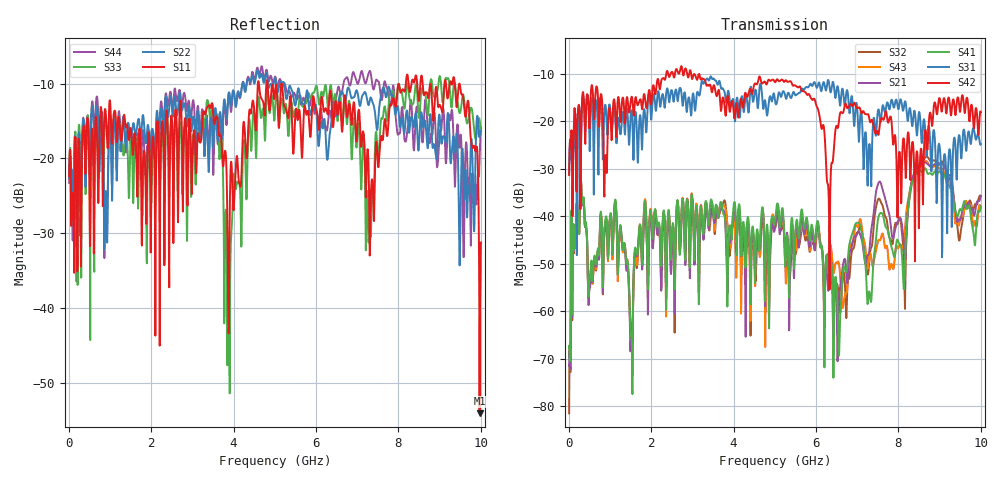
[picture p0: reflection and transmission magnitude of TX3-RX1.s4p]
# Hz S  RI  R 50
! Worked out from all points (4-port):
!   1601 points, 10 MHz to 10 GHz, reference 50 ohm
!   strongest paths, dB at 10 MHz, 2.507 GHz, 5.005 GHz, 7.503 GHz, 10 GHz:
!     S42: -31.3, -9.5, -11.7, -22.6, -18.0
!     S31: -31.0, -13.6, -15.6, -17.7, -24.8
!     S41: -67.6, -43.4, -40.9, -40.7, -37.9
!     S21: -68.5, -45.0, -42.5, -33.2, -35.7
!     S43: -68.2, -43.6, -41.0, -45.2, -38.2
!     S32: -81.5, -45.3, -42.4, -36.5, -35.6
!   lowest |S11| = -54.1 dB at 9.969 GHz (marker M1), VSWR 1.00, Z = 50.1 - j0.179 ohm
!   |S11| at or under -10 dB: start of sweep to 4.59 GHz; 5.169 GHz to 8.179 GHz (3.01 GHz wide, 45.1 % of centre); 8.588 GHz to 9.117 GHz (529.2 MHz wide, 5.98 % of centre)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
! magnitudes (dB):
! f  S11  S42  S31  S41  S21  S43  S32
! 10 MHz  -22.4  -31.3  -31.0  -67.6  -68.5  -68.2  -81.5
! 322.2 MHz  -19.0  -16.4  -16.2  -37.1  -37.4  -37.4  -37.6
! 1.515 GHz  -16.5  -15.2  -17.8  -64.8  -64.5  -62.6  -64.9
! 1.846 GHz  -20.1  -14.7  -18.0  -36.8  -37.9  -36.5  -37.7
! 6.566 GHz  -12.4  -19.2  -15.5  -67.4  -56.2  -50.6  -58.8
! 9.969 GHz  -54.1  -19.2  -24.3  -39.0  -36.6  -37.6  -35.7
! 10 GHz  -31.3  -18.0  -24.8  -37.9  -35.7  -38.2  -35.6
